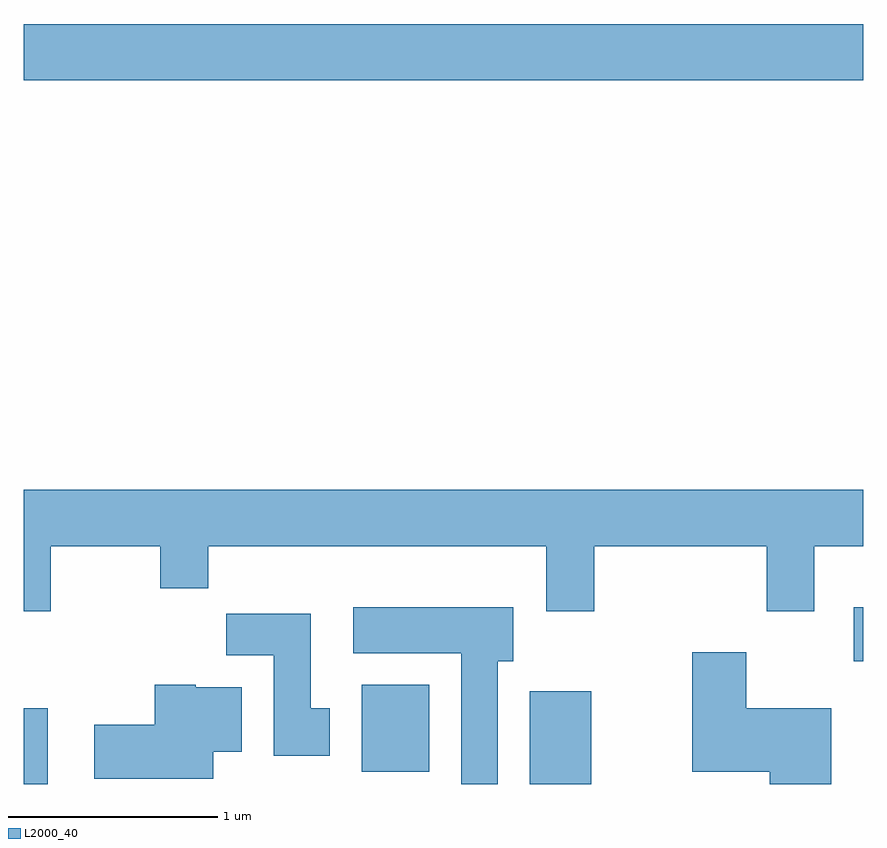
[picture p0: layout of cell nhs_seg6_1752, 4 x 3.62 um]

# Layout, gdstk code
import gdstk
lib = gdstk.Library(unit=1e-6, precision=1e-09)
def R(c, l, rs):  # rectangles x0, y0, x1, y1
    for r in rs: c.add(gdstk.rectangle(r[:2], r[2:], *l))
def P(c, l, *ps):  # polygons
    for p in ps: c.add(gdstk.Polygon(p, *l))
L2000_40 = (2000, 40)

nhs_seg6_1752 = lib.new_cell('nhs_seg6_1752')
R(nhs_seg6_1752, L2000_40, [(237.611,1622.162,237.724,1622.524), (240.021,1622.162,240.314,1622.604), (239.221,1622.221,239.544,1622.634), (241.566,1622.746,241.611,1623.004), (237.611,1625.516,241.611,1625.784)])
P(nhs_seg6_1752, L2000_40, [(237.739,1623.296),(238.261,1623.296),(238.261,1623.096),(238.489,1623.096),(238.489,1623.296),(240.101,1623.296),(240.101,1622.986),(240.329,1622.986),(240.329,1623.296),(241.151,1623.296),(241.151,1622.986),(241.379,1622.986),(241.379,1623.296),(241.611,1623.296),(241.611,1623.564),(237.611,1623.564),(237.611,1622.986),(237.739,1622.986)],
  [(239.869,1622.746),(239.944,1622.746),(239.944,1623.004),(239.181,1623.004),(239.181,1622.786),(239.696,1622.786),(239.696,1622.162),(239.869,1622.162)],
  [(239.069,1622.524),(238.979,1622.524),(238.979,1622.974),(238.576,1622.974),(238.576,1622.776),(238.801,1622.776),(238.801,1622.296),(239.069,1622.296)],
  [(241.459,1622.524),(241.054,1622.524),(241.054,1622.789),(240.796,1622.789),(240.796,1622.221),(241.166,1622.221),(241.166,1622.162),(241.459,1622.162)],
  [(238.514,1622.316),(238.649,1622.316),(238.649,1622.624),(238.43,1622.624),(238.43,1622.634),(238.236,1622.634),(238.236,1622.444),(237.946,1622.444),(237.946,1622.186),(238.514,1622.186)])

lib.write_gds('nhs_seg6_1752.gds')
